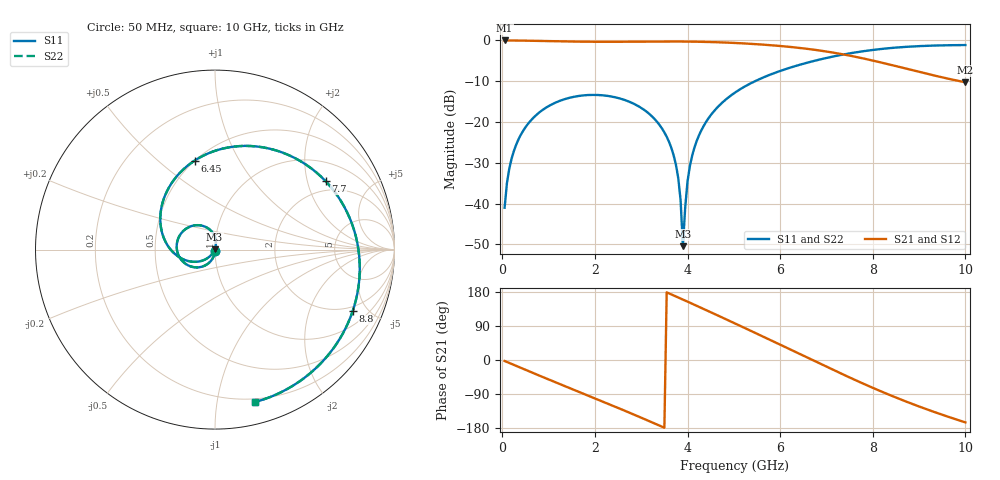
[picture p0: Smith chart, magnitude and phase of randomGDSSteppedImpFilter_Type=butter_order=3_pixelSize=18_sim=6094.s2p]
! freq	dB(S11)	phase(S11)	dB(S12)	phase(S12)
!  dB(S21)	phase(S21)	dB(S22)	phase(S22)
!S-par simulation data
#  GHz  S  DB  R 50
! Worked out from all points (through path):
!   200 points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, 50 MHz to 10 GHz, reference 50 ohm
!   highest |S21| = 0.00 dB at 50 MHz (marker M1); lowest = -10.3 dB at 10 GHz (marker M2)
!   group delay of S21, straight-line fit = 151 ps
!   lowest |S11| = -50.4 dB at 3.9 GHz (marker M3), VSWR 1.01, Z = 49.8 + j0.171 ohm
!   |S11| at or under -10 dB: start of sweep to 5.455 GHz
!   |S22| runs from -50.9 to -1.1 dB; largest |S21 - S12| = 0
!   S11 on the Smith chart (normalised r, x): 50 MHz: 1.00, -0.02; 6.45 GHz: 0.50, +0.67; 7.7 GHz: 1.62, +2.61; 8.8 GHz: 1.71, -3.99; 10 GHz: 0.17, -1.28
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0.05  -41.02 -92.2  -0.00 -2.6  -0.00 -2.6  -41.02 -92.2
0.1  -35.00 -95.0  -0.00 -5.2  -0.00 -5.2  -35.01 -95.0
0.2  -29.02 -100.4  -0.01 -10.4  -0.01 -10.4  -29.03 -100.4
0.5  -21.30 -116.0  -0.05 -25.8  -0.05 -25.8  -21.30 -116.1
1.15  -15.24 -149.4  -0.19 -58.9  -0.19 -58.9  -15.24 -149.5
1.75  -13.47 -179.6  -0.30 -88.8  -0.30 -88.8  -13.47 -179.6
2.5  -14.11 142.9  -0.32 -126.5  -0.32 -126.5  -14.11 142.8
3.4  -20.80 96.9  -0.26 -173.4  -0.26 -173.4  -20.80 96.7
3.75  -30.51 80.9  -0.26 167.7  -0.26 167.7  -30.51 80.5
3.85  -39.17 83.1  -0.26 162.3  -0.26 162.3  -39.20 82.1
3.9  -50.45 145.0  -0.27 159.5  -0.27 159.5  -50.89 144.7
4  -34.56 -124.1  -0.28 154.0  -0.28 154.0  -34.57 -123.6
4.15  -26.23 -128.0  -0.30 145.7  -0.30 145.7  -26.23 -127.9
4.5  -18.35 -146.0  -0.39 126.2  -0.39 126.2  -18.35 -146.0
5.05  -12.59 -176.6  -0.63 95.1  -0.63 95.1  -12.59 -176.6
5.65  -9.01 149.3  -1.04 60.7  -1.04 60.7  -9.01 149.2
6.45  -5.87 103.0  -1.87 14.3  -1.87 14.3  -5.87 102.9
6.7  -5.11 88.4  -2.22 -0.2  -2.22 -0.2  -5.11 88.4
7.7  -2.80 31.8  -4.18 -57.2  -4.18 -57.2  -2.80 31.7
8.35  -1.90 -2.3  -5.87 -91.6  -5.87 -91.6  -1.90 -2.3
8.8  -1.51 -24.1  -7.13 -113.4  -7.13 -113.4  -1.51 -24.0
10  -1.13 -75.3  -10.26 -164.7  -10.26 -164.7  -1.13 -75.2
